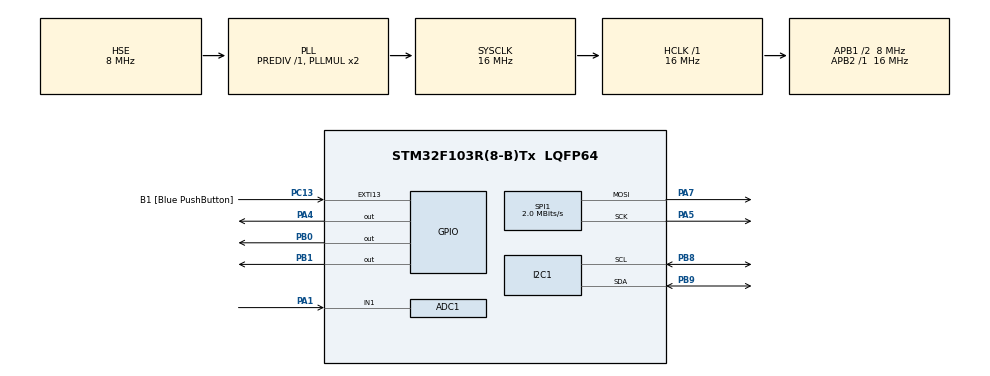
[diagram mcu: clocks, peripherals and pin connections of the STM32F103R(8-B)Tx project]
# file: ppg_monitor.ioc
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ADC1.Channel-0\#ChannelRegularConversion=ADC_CHANNEL_1
ADC1.NbrOfConversionFlag=1
ADC1.Rank-0\#ChannelRegularConversion=1
ADC1.SamplingTime-0\#ChannelRegularConversion=ADC_SAMPLETIME_1CYCLE_5
ADC1.master=1
I2C1.I2C_Mode=I2C_Fast
Mcu.Family=STM32F1
Mcu.Name=STM32F103R(8-B)Tx
Mcu.Package=LQFP64
NVIC.EXTI15_10_IRQn=true\:0\:0\:false\:false\:true\:true\:true\:true
NVIC.PriorityGroup=NVIC_PRIORITYGROUP_4
PA1.Signal=ADCx_IN1
PA13.GPIO_Label=TMS
PA13.Mode=Serial_Wire
PA13.Signal=SYS_JTMS-SWDIO
PA14.GPIO_Label=TCK
PA14.Mode=Serial_Wire
PA14.Signal=SYS_JTCK-SWCLK
PA2.GPIO_Label=USART_TX
PA2.GPIO_Mode=GPIO_MODE_AF_PP
PA2.GPIO_PuPd=GPIO_NOPULL
PA2.GPIO_Speed=GPIO_SPEED_FREQ_LOW
PA2.Signal=USART2_TX
PA3.GPIO_Label=USART_RX
PA3.GPIO_Mode=GPIO_MODE_AF_PP
PA3.GPIO_PuPd=GPIO_NOPULL
PA3.GPIO_Speed=GPIO_SPEED_FREQ_LOW
PA3.Signal=USART2_RX
PA4.Signal=GPIO_Output
PA5.Mode=TX_Only_Simplex_Unidirect_Master
PA5.Signal=SPI1_SCK
PA7.Mode=TX_Only_Simplex_Unidirect_Master
PA7.Signal=SPI1_MOSI
PB0.Signal=GPIO_Output
PB1.Signal=GPIO_Output
PB3.GPIO_Label=SWO
PB3.Signal=SYS_JTDO-TRACESWO
PB8.Mode=I2C
PB8.Signal=I2C1_SCL
PB9.Mode=I2C
PB9.Signal=I2C1_SDA
PC13-TAMPER-RTC.GPIO_Label=B1 [Blue PushButton]
PC13-TAMPER-RTC.GPIO_ModeDefaultEXTI=GPIO_MODE_IT_FALLING
PC13-TAMPER-RTC.GPIO_PuPd=GPIO_NOPULL
PC13-TAMPER-RTC.Signal=GPXTI13
PC14-OSC32_IN.Signal=RCC_OSC32_IN
PC15-OSC32_OUT.Signal=RCC_OSC32_OUT
PD0-OSC_IN.Mode=HSE-External-Clock-Source
PD0-OSC_IN.Signal=RCC_OSC_IN
PD1-OSC_OUT.Mode=HSE-External-Clock-Source
PD1-OSC_OUT.Signal=RCC_OSC_OUT
ProjectManager.HeapSize=0x200
ProjectManager.StackSize=0x400
ProjectManager.TargetToolchain=STM32CubeIDE
RCC.ADCPresc=RCC_ADCPCLK2_DIV6
RCC.AHBFreq_Value=16000000
RCC.APB1CLKDivider=RCC_HCLK_DIV2
RCC.APB1Freq_Value=8000000
RCC.APB1TimFreq_Value=16000000
RCC.APB2Freq_Value=16000000
RCC.APB2TimFreq_Value=16000000
RCC.HCLKFreq_Value=16000000
RCC.PLLSourceVirtual=RCC_PLLSOURCE_HSE
RCC.SYSCLKFreq_VALUE=16000000
RCC.SYSCLKSource=RCC_SYSCLKSOURCE_PLLCLK
RCC.USBFreq_Value=16000000
SH.ADCx_IN1.0=ADC1_IN1,IN1
SPI1.BaudRatePrescaler=SPI_BAUDRATEPRESCALER_8
SPI1.CLKPhase=SPI_PHASE_2EDGE
SPI1.CLKPolarity=SPI_POLARITY_HIGH
SPI1.CalculateBaudRate=2.0 MBits/s
SPI1.Direction=SPI_DIRECTION_2LINES
SPI1.Mode=SPI_MODE_MASTER
SPI1.VirtualType=VM_MASTER
board=NUCLEO-F103RB

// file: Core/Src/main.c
/* USER CODE BEGIN Header */
/**
  ******************************************************************************
  * @file           : main.c
  * @brief          : Main program body
  ******************************************************************************
  * @attention
  *
  * Copyright (c) 2026 STMicroelectronics.
  * All rights reserved.
  *
  * This software is licensed under terms that can be found in the LICENSE file
  * in the root directory of this software component.
  * If no LICENSE file comes with this software, it is provided AS-IS.
  *
  ******************************************************************************
  */
/* USER CODE END Header */
#include "main.h"

/* USER CODE BEGIN Includes */
#include "st7789.h"
#include <stdio.h>
/* USER CODE END Includes */

ADC_HandleTypeDef hadc1;

I2C_HandleTypeDef hi2c1;

SPI_HandleTypeDef hspi1;

void SystemClock_Config(void);
static void MX_GPIO_Init(void);
static void MX_SPI1_Init(void);
static void MX_ADC1_Init(void);
static void MX_I2C1_Init(void);

int main(void)
{

  /* MCU Configuration--------------------------------------------------------*/

  /* Reset of all peripherals, Initializes the Flash interface and the Systick. */
  HAL_Init();

  /* Configure the system clock */
  SystemClock_Config();

  /* Initialize all configured peripherals */
  MX_GPIO_Init();
  MX_SPI1_Init();
  MX_ADC1_Init();
  MX_I2C1_Init();
  /* USER CODE BEGIN 2 */
  ST7789_Init(&hspi1);
  ST7789_FillScreen(ST7789_BLACK);
  ST7789_DrawString(10, 10, "SDA PULLUP CHECK", ST7789_WHITE, ST7789_BLACK, 2);

  uint8_t id = 0, rev = 0;
  HAL_StatusTypeDef s1 = HAL_I2C_Mem_Read(&hi2c1, 0x57 << 1, 0xFF, I2C_MEMADD_SIZE_8BIT, &id, 1, 100);
  HAL_StatusTypeDef s2 = HAL_I2C_Mem_Read(&hi2c1, 0x57 << 1, 0xFE, I2C_MEMADD_SIZE_8BIT, &rev, 1, 100);

  char buf[32];
  snprintf(buf, sizeof(buf), "ST %d %d", s1, s2);
  ST7789_DrawString(10, 50, buf, ST7789_YELLOW, ST7789_BLACK, 3);
  snprintf(buf, sizeof(buf), "ERR 0x%02lX", hi2c1.ErrorCode);
  ST7789_DrawString(10, 90, buf, ST7789_YELLOW, ST7789_BLACK, 3);
  snprintf(buf, sizeof(buf), "ID 0x%02X", id);
  ST7789_DrawString(10, 130, buf, ST7789_GREEN, ST7789_BLACK, 3);
  snprintf(buf, sizeof(buf), "REV 0x%02X", rev);
  ST7789_DrawString(10, 170, buf, ST7789_GREEN, ST7789_BLACK, 3);

  /*ST7789_FillScreen(ST7789_RED);	HAL_Delay(1000);
  ST7789_FillScreen(ST7789_GREEN);	HAL_Delay(1000);
  ST7789_FillScreen(ST7789_BLUE);	HAL_Delay(1000);
  ST7789_FillScreen(ST7789_BLACK);

  ST7789_DrawString(10, 10, "PPG Monitor", ST7789_WHITE, ST7789_BLACK, 3);
  ST7789_DrawString(10, 50, "ST7789 OK", ST7789_GREEN, ST7789_BLACK, 2);*/

  /* USER CODE END 2 */

  /* Infinite loop */
  while (1)
  {

  }
}

void SystemClock_Config(void)
{
  RCC_OscInitTypeDef RCC_OscInitStruct = {0};
  RCC_ClkInitTypeDef RCC_ClkInitStruct = {0};
  RCC_PeriphCLKInitTypeDef PeriphClkInit = {0};

  /** Initializes the RCC Oscillators according to the specified parameters
  * in the RCC_OscInitTypeDef structure.
  */
  RCC_OscInitStruct.OscillatorType = RCC_OSCILLATORTYPE_HSE;
  RCC_OscInitStruct.HSEState = RCC_HSE_BYPASS;
  RCC_OscInitStruct.HSEPredivValue = RCC_HSE_PREDIV_DIV1;
  RCC_OscInitStruct.HSIState = RCC_HSI_ON;
  RCC_OscInitStruct.PLL.PLLState = RCC_PLL_ON;
  RCC_OscInitStruct.PLL.PLLSource = RCC_PLLSOURCE_HSE;
  RCC_OscInitStruct.PLL.PLLMUL = RCC_PLL_MUL2;
  if (HAL_RCC_OscConfig(&RCC_OscInitStruct) != HAL_OK)
  {
    Error_Handler();
  }

  /** Initializes the CPU, AHB and APB buses clocks
  */
  RCC_ClkInitStruct.ClockType = RCC_CLOCKTYPE_HCLK|RCC_CLOCKTYPE_SYSCLK
                              |RCC_CLOCKTYPE_PCLK1|RCC_CLOCKTYPE_PCLK2;
  RCC_ClkInitStruct.SYSCLKSource = RCC_SYSCLKSOURCE_PLLCLK;
  RCC_ClkInitStruct.AHBCLKDivider = RCC_SYSCLK_DIV1;
  RCC_ClkInitStruct.APB1CLKDivider = RCC_HCLK_DIV2;
  RCC_ClkInitStruct.APB2CLKDivider = RCC_HCLK_DIV1;

  if (HAL_RCC_ClockConfig(&RCC_ClkInitStruct, FLASH_LATENCY_0) != HAL_OK)
  {
    Error_Handler();
  }
  PeriphClkInit.PeriphClockSelection = RCC_PERIPHCLK_ADC;
  PeriphClkInit.AdcClockSelection = RCC_ADCPCLK2_DIV6;
  if (HAL_RCCEx_PeriphCLKConfig(&PeriphClkInit) != HAL_OK)
  {
    Error_Handler();
  }
}

static void MX_ADC1_Init(void)
{

  ADC_ChannelConfTypeDef sConfig = {0};

  /** Common config
  */
  hadc1.Instance = ADC1;
  hadc1.Init.ScanConvMode = ADC_SCAN_DISABLE;
  hadc1.Init.ContinuousConvMode = DISABLE;
  hadc1.Init.DiscontinuousConvMode = DISABLE;
  hadc1.Init.ExternalTrigConv = ADC_SOFTWARE_START;
  hadc1.Init.DataAlign = ADC_DATAALIGN_RIGHT;
  hadc1.Init.NbrOfConversion = 1;
  if (HAL_ADC_Init(&hadc1) != HAL_OK)
  {
    Error_Handler();
  }

  /** Configure Regular Channel
  */
  sConfig.Channel = ADC_CHANNEL_1;
  sConfig.Rank = ADC_REGULAR_RANK_1;
  sConfig.SamplingTime = ADC_SAMPLETIME_1CYCLE_5;
  if (HAL_ADC_ConfigChannel(&hadc1, &sConfig) != HAL_OK)
  {
    Error_Handler();
  }

}

static void MX_I2C1_Init(void)
{

  hi2c1.Instance = I2C1;
  hi2c1.Init.ClockSpeed = 400000;
  hi2c1.Init.DutyCycle = I2C_DUTYCYCLE_2;
  hi2c1.Init.OwnAddress1 = 0;
  hi2c1.Init.AddressingMode = I2C_ADDRESSINGMODE_7BIT;
  hi2c1.Init.DualAddressMode = I2C_DUALADDRESS_DISABLE;
  hi2c1.Init.OwnAddress2 = 0;
  hi2c1.Init.GeneralCallMode = I2C_GENERALCALL_DISABLE;
  hi2c1.Init.NoStretchMode = I2C_NOSTRETCH_DISABLE;
  if (HAL_I2C_Init(&hi2c1) != HAL_OK)
  {
    Error_Handler();
  }

}

static void MX_SPI1_Init(void)
{

  /* SPI1 parameter configuration*/
  hspi1.Instance = SPI1;
  hspi1.Init.Mode = SPI_MODE_MASTER;
  hspi1.Init.Direction = SPI_DIRECTION_2LINES;
  hspi1.Init.DataSize = SPI_DATASIZE_8BIT;
  hspi1.Init.CLKPolarity = SPI_POLARITY_HIGH;
  hspi1.Init.CLKPhase = SPI_PHASE_2EDGE;
  hspi1.Init.NSS = SPI_NSS_SOFT;
  hspi1.Init.BaudRatePrescaler = SPI_BAUDRATEPRESCALER_8;
  hspi1.Init.FirstBit = SPI_FIRSTBIT_MSB;
  hspi1.Init.TIMode = SPI_TIMODE_DISABLE;
  hspi1.Init.CRCCalculation = SPI_CRCCALCULATION_DISABLE;
  hspi1.Init.CRCPolynomial = 10;
  if (HAL_SPI_Init(&hspi1) != HAL_OK)
  {
    Error_Handler();
  }

}

static void MX_GPIO_Init(void)
{
  GPIO_InitTypeDef GPIO_InitStruct = {0};

  /* GPIO Ports Clock Enable */
  __HAL_RCC_GPIOC_CLK_ENABLE();
  __HAL_RCC_GPIOD_CLK_ENABLE();
  __HAL_RCC_GPIOA_CLK_ENABLE();
  __HAL_RCC_GPIOB_CLK_ENABLE();

  /*Configure GPIO pin Output Level */
  HAL_GPIO_WritePin(GPIOA, GPIO_PIN_4, GPIO_PIN_RESET);

  /*Configure GPIO pin Output Level */
  HAL_GPIO_WritePin(GPIOB, GPIO_PIN_0|GPIO_PIN_1, GPIO_PIN_RESET);

  /*Configure GPIO pin : B1_Pin */
  GPIO_InitStruct.Pin = B1_Pin;
  GPIO_InitStruct.Mode = GPIO_MODE_IT_FALLING;
  GPIO_InitStruct.Pull = GPIO_NOPULL;
  HAL_GPIO_Init(B1_GPIO_Port, &GPIO_InitStruct);

  /*Configure GPIO pins : USART_TX_Pin USART_RX_Pin */
  GPIO_InitStruct.Pin = USART_TX_Pin|USART_RX_Pin;
  GPIO_InitStruct.Mode = GPIO_MODE_AF_PP;
  GPIO_InitStruct.Speed = GPIO_SPEED_FREQ_LOW;
  HAL_GPIO_Init(GPIOA, &GPIO_InitStruct);

  /*Configure GPIO pin : PA4 */
  GPIO_InitStruct.Pin = GPIO_PIN_4;
  GPIO_InitStruct.Mode = GPIO_MODE_OUTPUT_PP;
  GPIO_InitStruct.Pull = GPIO_NOPULL;
  GPIO_InitStruct.Speed = GPIO_SPEED_FREQ_LOW;
  HAL_GPIO_Init(GPIOA, &GPIO_InitStruct);

  /*Configure GPIO pins : PB0 PB1 */
  GPIO_InitStruct.Pin = GPIO_PIN_0|GPIO_PIN_1;
  GPIO_InitStruct.Mode = GPIO_MODE_OUTPUT_PP;
  GPIO_InitStruct.Pull = GPIO_NOPULL;
  GPIO_InitStruct.Speed = GPIO_SPEED_FREQ_LOW;
  HAL_GPIO_Init(GPIOB, &GPIO_InitStruct);

  /* EXTI interrupt init*/
  HAL_NVIC_SetPriority(EXTI15_10_IRQn, 0, 0);
  HAL_NVIC_EnableIRQ(EXTI15_10_IRQn);

}

void Error_Handler(void)
{
  __disable_irq();
  while (1)
  {
  }
}
